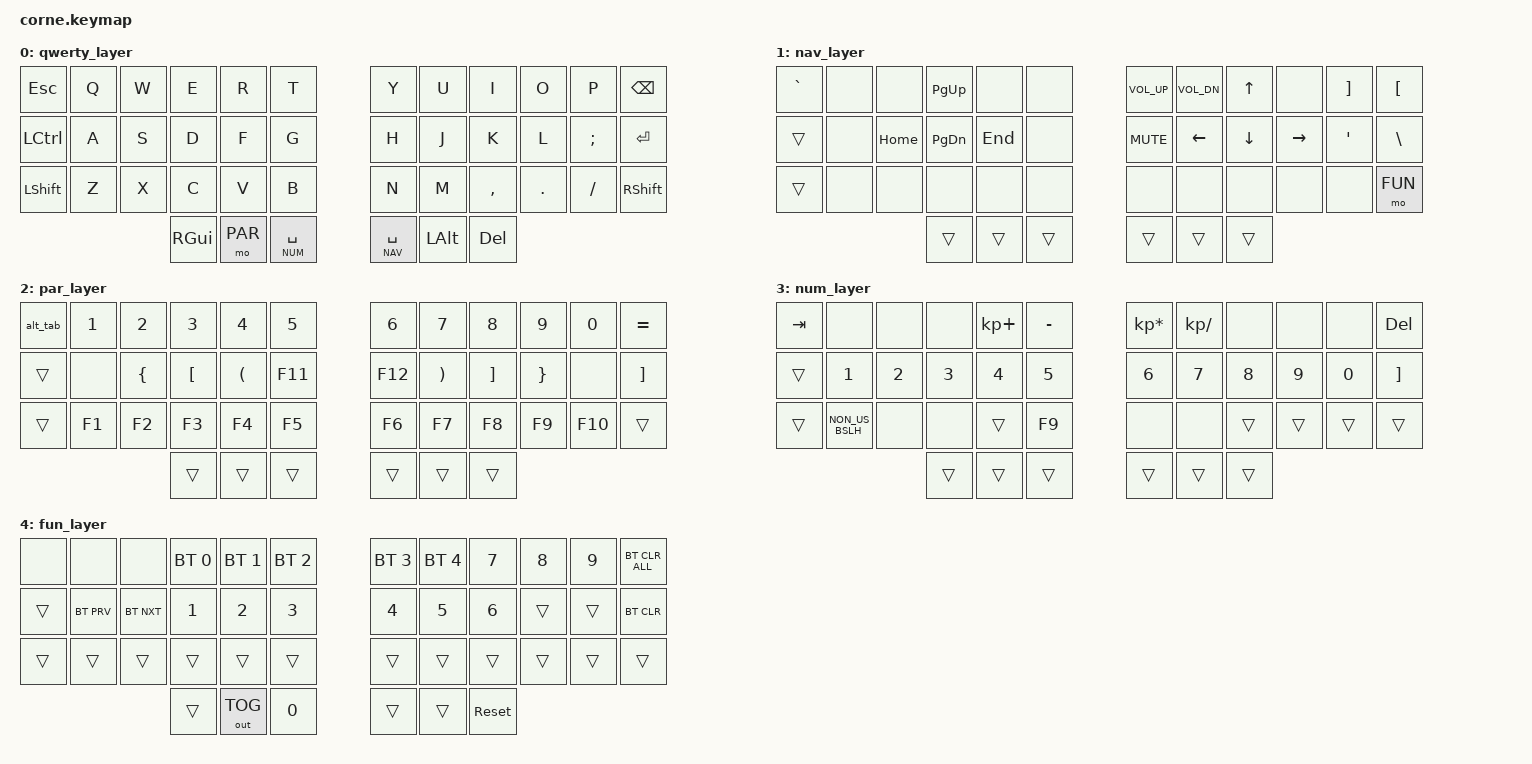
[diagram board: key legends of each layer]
/*
 * Converted from QMK to ZMK
 *
 * NOTES ON CONVERSION:
 * - RGB removed as requested.
 * - ALT_TAB converted to a ZMK macro (holds Alt, taps Tab).
 * - MUTE_TEAMS (Ctrl+Shift+M) was defined in QMK but never placed on any layer, so it is omitted.
 * - MOUSEJIGGLERMACRO is not natively supported in ZMK; that key position is set to &none.
 * - OLED on/off is handled by &none              (top-left of FUN layer, where RGB_TOG was).
 *   Requires CONFIG_ZMK_EXT_POWER=y in config/corne.conf.
 *
 * BOOTLOADER COMBO:
 * - Hold the two outermost thumb keys simultaneously (positions 36 + 41) on QWERTY layer only.
 * - Left half combo enters left bootloader, right half combo enters right bootloader.
 * - Key positions on Corne (0-indexed):
 *    0  1  2  3  4  5     6  7  8  9 10 11
 *   12 13 14 15 16 17    18 19 20 21 22 23
 *   24 25 26 27 28 29    30 31 32 33 34 35
 *               36 37 38    39 40 41
 *   36 = far-left thumb key (RGUI)
 *   41 = far-right thumb key (DEL)
 */

#include <behaviors.dtsi>
#include <dt-bindings/zmk/keys.h>
#include <dt-bindings/zmk/bt.h>

#include <dt-bindings/zmk/outputs.h>

#define QWERTY 0
#define NAV    1
#define PAR    2
#define NUM    3
#define FUN    4

/ {
    combos {
        compatible = "zmk,combos";

        // Bootloader combos: press all 4 corner keys on a half simultaneously.
        // Each half independently enters its own bootloader. QWERTY layer only.
        // Left corners:  0=ESC, 5=T, 24=LSHFT, 29=B
        // Right corners: 6=Y, 11=BSPC, 30=N, 35=RSHFT
        combo_bootloader_left {
            timeout-ms = <100>;
            key-positions = <0 5 24 29>;
            bindings = <&bootloader>;
            layers = <QWERTY>;
        };

        combo_bootloader_right {
            timeout-ms = <100>;
            key-positions = <6 11 30 35>;
            bindings = <&bootloader>;
            layers = <QWERTY>;
        };
    };

    macros {
        alt_tab: alt_tab {
            compatible = "zmk,behavior-macro";
            #binding-cells = <0>;
            bindings
                = <&macro_press &kp LALT>
                , <&macro_tap &kp TAB>
                , <&macro_release &kp LALT>
                ;
        };
    };

    keymap {
        compatible = "zmk,keymap";

        qwerty_layer {
            // ,------------------------------------------.                ,-------------------------------------------.
            // | ESC  |  Q   |  W   |  E   |  R   |  T   |                |  Y   |  U   |  I   |  O   |  P   | BSPC  |
            // |------+------+------+------+------+------|                |------+------+------+------+------+-------|
            // | LCTL |  A   |  S   |  D   |  F   |  G   |                |  H   |  J   |  K   |  L   |  ;   |  ENT  |
            // |------+------+------+------+------+------|                |------+------+------+------+------+-------|
            // | LSFT |  Z   |  X   |  C   |  V   |  B   |                |  N   |  M   |  ,   |  .   |  /   | RSFT  |
            // `------+------+------+------+------+------+------.  ,------+------+------+------+------+------+-------'
            //                      | RGUI | PAR  |NUM/SPC|       |NAV/SPC| LALT |  DEL |
            //                      `--------------------'        `--------------------'
            bindings = <
                &kp ESC   &kp Q  &kp W  &kp E  &kp R  &kp T           &kp Y  &kp U     &kp I      &kp O    &kp P     &kp BSPC
                &kp LCTRL &kp A  &kp S  &kp D  &kp F  &kp G           &kp H  &kp J     &kp K      &kp L    &kp SEMI  &kp RET
                &kp LSHFT &kp Z  &kp X  &kp C  &kp V  &kp B           &kp N  &kp M     &kp COMMA  &kp DOT  &kp FSLH  &kp RSHFT
                                 &kp RGUI  &mo PAR  &lt NUM SPACE      &lt NAV SPACE  &kp LALT  &kp DEL
            >;
        };

        nav_layer {
            // ,------------------------------------------.                ,-------------------------------------------.
            // |  `   |      |      | PGUP |      |      |                | VOLU | VOLD |  UP  |      |  ]   |  [    |
            // |------+------+------+------+------+------|                |------+------+------+------+------+-------|
            // | TRNS |      | HOME | PGDN | END  |      |                | MUTE | LEFT | DOWN | RGHT |  '   |  \    |
            // |------+------+------+------+------+------|                |------+------+------+------+------+-------|
            // | TRNS |      |      |      |      |      |                | (--) |      |      |      |      |  FUN  |
            // `------+------+------+------+------+------+------.  ,------+------+------+------+------+------+-------'
            //                      | TRNS | TRNS | TRNS |       | TRNS | TRNS | TRNS |
            //                      `--------------------'        `--------------------'
            // Note: (--) = MOUSEJIGGLERMACRO — not supported natively in ZMK, mapped to &none.
            bindings = <
                &kp GRAVE  &none  &none     &kp PG_UP  &none     &none      &kp C_VOL_UP  &kp C_VOL_DN  &kp UP    &none      &kp RBKT  &kp LBKT
                &trans     &none  &kp HOME  &kp PG_DN  &kp END   &none      &kp C_MUTE    &kp LEFT      &kp DOWN  &kp RIGHT  &kp SQT   &kp BSLH
                &trans     &none  &none     &none      &none     &none      &none          &none         &none     &none      &none     &mo FUN
                                  &trans    &trans     &trans               &trans         &trans        &trans
            >;
        };

        par_layer {
            // ,------------------------------------------.                ,-------------------------------------------.
            // |ALTAB |  1   |  2   |  3   |  4   |  5   |                |  6   |  7   |  8   |  9   |  0   |  =    |
            // |------+------+------+------+------+------|                |------+------+------+------+------+-------|
            // | TRNS |      |  {   |  [   |  (   | F11  |                | F12  |  )   |  ]   |  }   |      |  ]    |
            // |------+------+------+------+------+------|                |------+------+------+------+------+-------|
            // | TRNS |  F1  |  F2  |  F3  |  F4  |  F5  |                |  F6  |  F7  |  F8  |  F9  | F10  | TRNS  |
            // `------+------+------+------+------+------+------.  ,------+------+------+------+------+------+-------'
            //                      | TRNS | TRNS | TRNS |       | TRNS | TRNS | TRNS |
            //                      `--------------------'        `--------------------'
            bindings = <
                &alt_tab  &kp N1  &kp N2   &kp N3   &kp N4   &kp N5      &kp N6   &kp N7   &kp N8   &kp N9   &kp N0   &kp EQUAL
                &trans    &none   &kp LBRC &kp LBKT &kp LPAR &kp F11     &kp F12  &kp RPAR &kp RBKT &kp RBRC &none    &kp RBKT
                &trans    &kp F1  &kp F2   &kp F3   &kp F4   &kp F5      &kp F6   &kp F7   &kp F8   &kp F9   &kp F10  &trans
                                  &trans   &trans   &trans               &trans   &trans   &trans
            >;
        };

        num_layer {
            // ,------------------------------------------.                ,-------------------------------------------.
            // | TAB  |      |      |      |  +   |  -   |                |  *   |  /   |      |      |      |  DEL  |
            // |------+------+------+------+------+------|                |------+------+------+------+------+-------|
            // | TRNS |  1   |  2   |  3   |  4   |  5   |                |  6   |  7   |  8   |  9   |  0   |  ]    |
            // |------+------+------+------+------+------|                |------+------+------+------+------+-------|
            // | TRNS | NUBS |      |      | TRNS |  F9  |                |      |      | TRNS | TRNS | TRNS | TRNS  |
            // `------+------+------+------+------+------+------.  ,------+------+------+------+------+------+-------'
            //                      | TRNS | TRNS | TRNS |       | TRNS | TRNS | TRNS |
            //                      `--------------------'        `--------------------'
            bindings = <
                &kp TAB  &none           &none  &none  &kp KP_PLUS  &kp MINUS      &kp KP_MULTIPLY  &kp KP_DIVIDE  &none   &none   &none   &kp DEL
                &trans   &kp N1          &kp N2 &kp N3 &kp N4       &kp N5         &kp N6           &kp N7         &kp N8  &kp N9  &kp N0  &kp RBKT
                &trans   &kp NON_US_BSLH &none  &none  &trans       &kp F9         &none            &none          &trans  &trans  &trans  &trans
                                         &trans &trans &trans                       &trans           &trans         &trans
            >;
        };

        fun_layer {
            // ,------------------------------------------.                ,-------------------------------------------.
            // |OLEDTG|EP_ON |EP_OFF| BT0  | BT1  | BT2  |                | BT3  | BT4  | [7]  | [8]  | [9]  |BTCLRA |
            // |------+------+------+------+------+------|                |------+------+------+------+------+-------|
            // | TRNS |BTPRV |BTNXT | [1]  | [2]  | [3]  |                | [4]  | [5]  | [6]  |      |      |BTCLR  |
            // |------+------+------+------+------+------|                |------+------+------+------+------+-------|
            // | TRNS |      |      |      |      |      |                |      |      |      |      |      | TRNS  |
            // `------+------+------+------+------+------+------.  ,------+------+------+------+------+------+-------'
            //                      | TRNS |USBTOG| [0]  |       | TRNS | TRNS | RESET|
            //                      `--------------------'        `--------------------'
            //
            // OLEDTG  = toggle OLED on/off             (ESC position, top-left)
            // EP_ON   = OLED power ON                  (Q) — use for blank OLED recovery
            // EP_OFF  = OLED power OFF                 (W) — use for blank OLED recovery
            // BT0–BT4 = switch to BT profile 0–4      (E R T / Y U)
            // BTPRV   = previous BT profile            (A)
            // BTNXT   = next BT profile                (S)
            // BTCLR   = clear pairing on current profile  (Enter, right side)
            // BTCLRA  = clear ALL pairings             (Backspace, top-right)
            // USBTOG  = toggle USB / BT output         (middle left thumb)
            // RESET   = soft reset keyboard            (right far thumb / DEL position)
            // [0-9]   = TEST KEYS — type numbers to confirm FUN layer is reached
            //
            // OLED blank recovery sequence: EP_OFF → EP_ON → RESET
            bindings = <
                &none               &none              &none &bt BT_SEL 0  &bt BT_SEL 1  &bt BT_SEL 2      &bt BT_SEL 3  &bt BT_SEL 4  &kp N7  &kp N8  &kp N9  &bt BT_CLR_ALL
                &trans             &bt BT_PRV        &bt BT_NXT         &kp N1         &kp N2         &kp N3            &kp N4         &kp N5        &kp N6  &trans  &trans  &bt BT_CLR
                &trans             &trans            &trans             &trans         &trans         &trans            &trans         &trans        &trans  &trans  &trans  &trans
                                                     &trans             &out OUT_TOG   &kp N0                           &trans         &trans        &sys_reset
            >;
        };
    };
};
